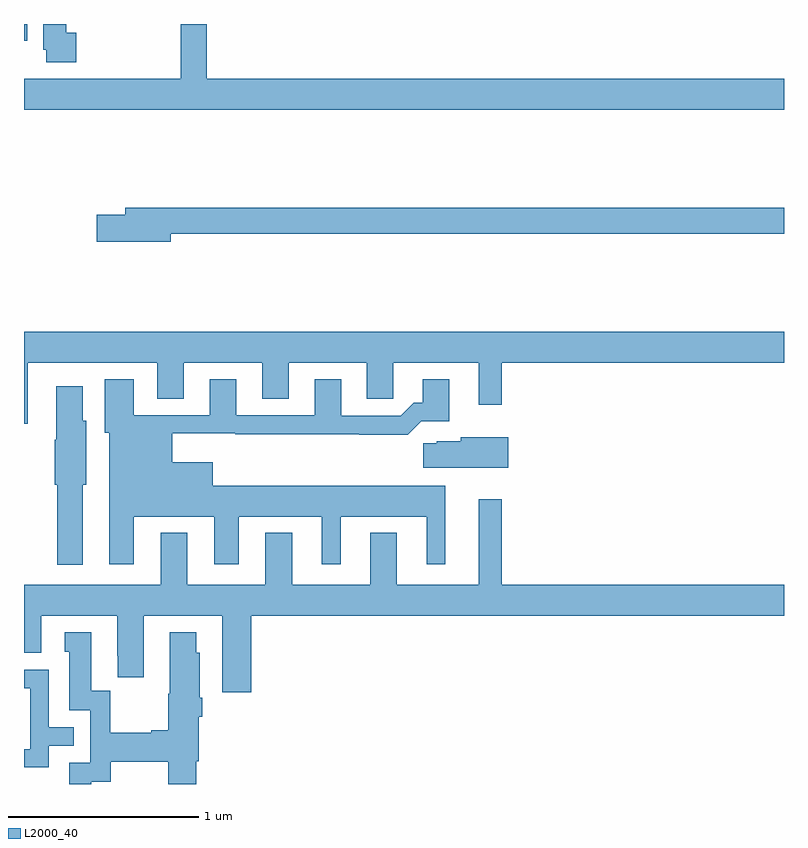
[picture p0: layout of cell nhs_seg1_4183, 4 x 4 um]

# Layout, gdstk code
import gdstk
lib = gdstk.Library(unit=1e-6, precision=1e-09)
def R(c, l, rs):  # rectangles x0, y0, x1, y1
    for r in rs: c.add(gdstk.rectangle(r[:2], r[2:], *l))
def P(c, l, *ps):  # polygons
    for p in ps: c.add(gdstk.Polygon(p, *l))
L2000_40 = (2000, 40)

nhs_seg1_4183 = lib.new_cell('nhs_seg1_4183')
R(nhs_seg1_4183, L2000_40, [(339,536.111,339.016,536.199)])
P(nhs_seg1_4183, L2000_40, [(343,535.912),(339.962,535.912),(339.962,536.199),(339.826,536.199),(339.826,535.912),(339,535.912),(339,535.748),(343,535.748)],
  [(339.275,536.154),(339.223,536.154),(339.223,536.199),(339.101,536.199),(339.101,536.064),(339.118,536.064),(339.118,535.998),(339.275,535.998)],
  [(339.772,535.096),(343,535.096),(343,535.232),(339.533,535.232),(339.533,535.196),(339.384,535.196),(339.384,535.054),(339.772,535.054)],
  [(339,534.096),(339.019,534.096),(339.019,534.416),(339.701,534.416),(339.701,534.226),(339.841,534.226),(339.841,534.416),(340.253,534.416),(340.253,534.226),(340.393,534.226),(340.393,534.416),(340.805,534.416),(340.805,534.226),(340.944,534.226),(340.944,534.416),(341.393,534.416),(341.393,534.195),(341.515,534.195),(341.515,534.416),(343,534.416),(343,534.58),(339,534.58)],
  [(339.577,533.606),(340.001,533.606),(340.001,533.355),(340.129,533.355),(340.129,533.606),(340.568,533.606),(340.568,533.355),(340.666,533.355),(340.666,533.606),(341.12,533.606),(341.12,533.355),(341.218,533.355),(341.218,533.77),(339.994,533.77),(339.994,533.893),(339.781,533.893),(339.781,534.044),(340.113,534.044),(340.113,534.04),(340.765,534.04),(340.765,534.038),(341.021,534.038),(341.091,534.108),(341.239,534.108),(341.239,534.328),(341.099,534.328),(341.099,534.205),(341.05,534.205),(340.983,534.138),(340.669,534.138),(340.669,534.328),(340.529,534.328),(340.529,534.141),(340.117,534.141),(340.117,534.328),(339.977,534.328),(339.977,534.141),(339.577,534.141),(339.577,534.328),(339.425,534.328),(339.425,534.048),(339.449,534.048),(339.449,533.355),(339.577,533.355)],
  [(339.31,533.775),(339.328,533.775),(339.328,534.111),(339.31,534.111),(339.31,534.292),(339.17,534.292),(339.17,534.011),(339.163,534.011),(339.163,533.775),(339.176,533.775),(339.176,533.352),(339.31,533.352)],
  [(341.548,534.025),(341.298,534.025),(341.298,534.004),(341.172,534.004),(341.172,533.993),(341.1,533.993),(341.1,533.864),(341.548,533.864)],
  [(340.196,533.084),(343,533.084),(343,533.248),(341.515,533.248),(341.515,533.698),(341.393,533.698),(341.393,533.248),(340.963,533.248),(340.963,533.521),(340.823,533.521),(340.823,533.248),(340.411,533.248),(340.411,533.521),(340.271,533.521),(340.271,533.248),(339.859,533.248),(339.859,533.521),(339.719,533.521),(339.719,533.248),(339,533.248),(339,532.89),(339.091,532.89),(339.091,533.084),(339.491,533.084),(339.491,532.873),(339.494,532.873),(339.494,532.761),(339.631,532.761),(339.631,533.084),(340.043,533.084),(340.043,532.683),(340.196,532.683)],
  [(339.355,532.21),(339.457,532.21),(339.457,532.316),(339.76,532.316),(339.76,532.199),(339.907,532.199),(339.907,532.32),(339.92,532.32),(339.92,532.554),(339.938,532.554),(339.938,532.654),(339.925,532.654),(339.925,532.89),(339.907,532.89),(339.907,532.999),(339.767,532.999),(339.767,532.673),(339.76,532.673),(339.76,532.481),(339.671,532.481),(339.671,532.468),(339.453,532.468),(339.453,532.691),(339.355,532.691),(339.355,532.999),(339.215,532.999),(339.215,532.896),(339.239,532.896),(339.239,532.587),(339.348,532.587),(339.348,532.311),(339.239,532.311),(339.239,532.199),(339.355,532.199)],
  [(339.129,532.401),(339.263,532.401),(339.263,532.497),(339.129,532.497),(339.129,532.8),(339,532.8),(339,532.704),(339.033,532.704),(339.033,532.383),(339,532.383),(339,532.287),(339.129,532.287)])

lib.write_gds('nhs_seg1_4183.gds')
